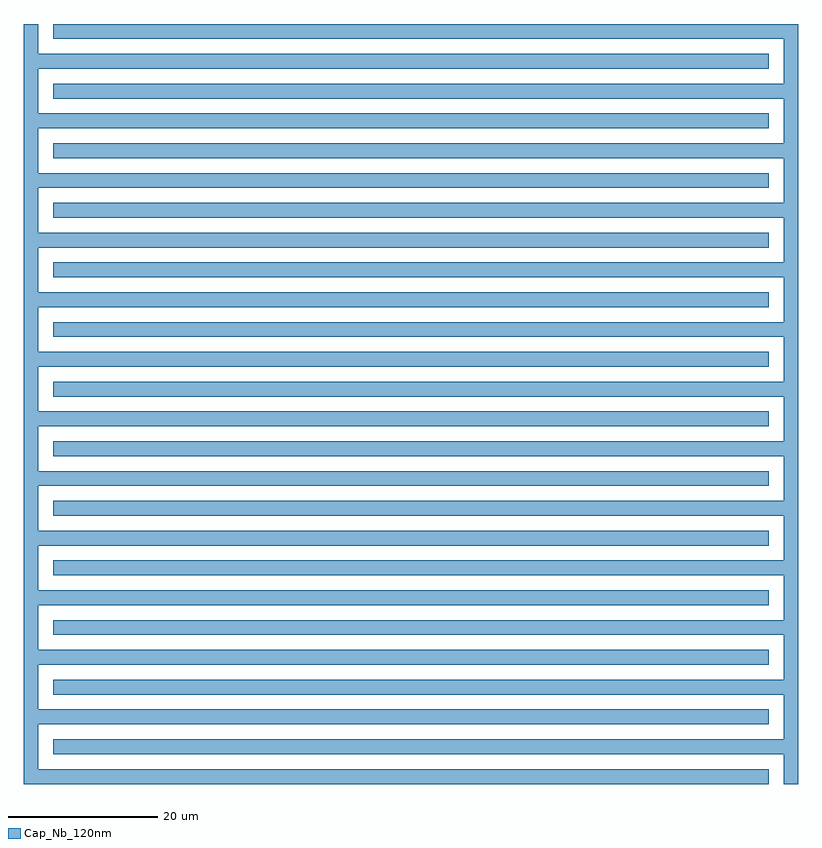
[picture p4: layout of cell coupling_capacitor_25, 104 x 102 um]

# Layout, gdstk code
import gdstk
lib = gdstk.Library(unit=1e-6, precision=1e-09)
def R(c, l, rs):  # rectangles x0, y0, x1, y1
    for r in rs: c.add(gdstk.rectangle(r[:2], r[2:], *l))
def A(c, l, x, y, w, h, nx, ny, dx, dy):  # array of equal rectangles
    R(c, l, [(x+i*dx, y+j*dy, x+i*dx+w, y+j*dy+h) for i in range(nx) for j in range(ny)])
Cap_Nb_120nm = (6, 0)

coupling_capacitor_25 = lib.new_cell('coupling_capacitor_25')
A(coupling_capacitor_25, Cap_Nb_120nm, -50, -51, 98, 2, 1, 13, 0, 8)
A(coupling_capacitor_25, Cap_Nb_120nm, -48, -47, 98, 2, 1, 13, 0, 8)
R(coupling_capacitor_25, Cap_Nb_120nm, [(-52,-51,-50,51), (50,-51,52,51)])

lib.write_gds('coupling_capacitor_25.gds')
